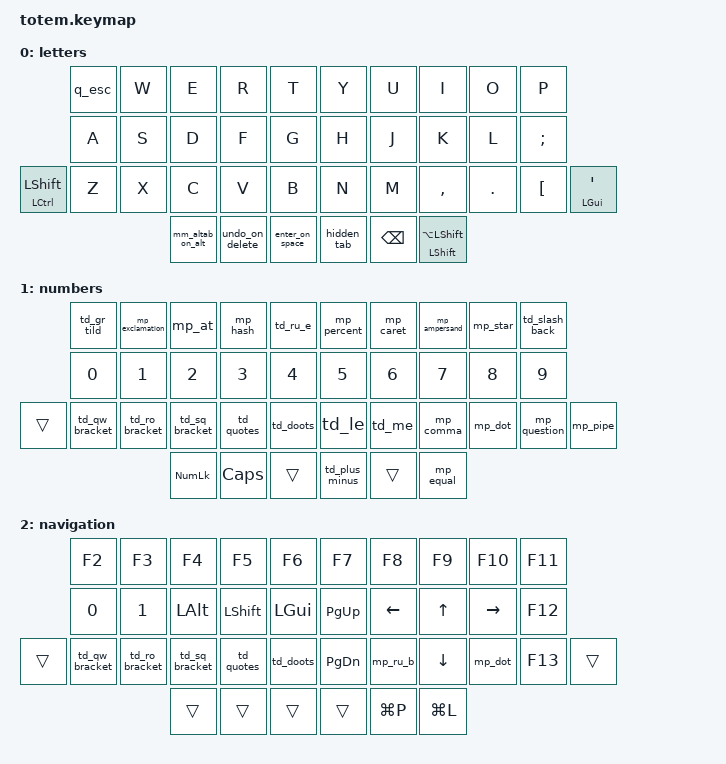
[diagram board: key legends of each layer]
//
//                                                        ▀▀▀▀▀     ▀▀▀▀▀          ▀▀█▀▀
//                                                        ▄▀▀▀▄  ▄  ▄▀▀▀▄  ▄  ▄▀▀▀▄  █  ▄▀▀▀▄
//                                                        █   █  █  █   █  █  █   █  █  █   █
//                                                         ▀▀▀   █   ▀▀▀   █   ▀▀▀   ▀   ▀▀▀
//                                                               █      ▄▄▄█▄▄▄    █   █  
//                                                               ▀      █  █  █     █▄█
//                                                             ▀▀▀▀▀    █  █  █      ▀
//                                                                      ▀  ▀  ▀
//
// ▄▄▄▄▄▄▄▄▄▄▄▄▄▄▄▄▄▄▄▄▄▄▄▄▄▄▄▄▄▄▄▄▄▄▄▄▄▄▄▄▄▄▄▄▄▄▄▄▄▄▄▄▄▄▄▄▄▄▄▄▄▄▄▄▄▄▄▄▄▄▄▄▄▄▄▄▄▄▄▄▄▄▄▄▄▄▄▄▄▄▄▄▄▄▄▄▄▄▄▄▄▄▄▄▄▄▄▄▄▄▄▄▄▄▄▄▄▄▄▄▄▄▄▄▄▄▄▄▄▄▄▄▄▄▄▄▄▄▄▄▄▄▄▄▄▄▄▄▄

#define BASE 0
#define MATH 1
#define SYMB 2
#define ADJU  3

#include <behaviors.dtsi>
#include <dt-bindings/zmk/bt.h>
#include <dt-bindings/zmk/keys.h>

&sk {
    quick-release;
    release-after-ms = <1500>;
};

&lt { flavor = "balanced"; };

/ {
    combos {
        compatible = "zmk,combos";

        print_screen {
            bindings = <&kp LS(LG(S))>;
            key-positions = <32 33 34>;
            layers = <0>;
        };

        ctrl_alt_delete {
            bindings = <&kp LC(LA(DELETE))>;
            key-positions = <35 36 37>;
        };

        bt_0 {
            bindings = <&bt BT_SEL 0>;
            key-positions = <0 10 21>;
        };

        bt_1 {
            bindings = <&bt BT_SEL 1>;
            key-positions = <22 11 1>;
        };

        mobile {
            bindings = <&bt BT_SEL 2>;
            key-positions = <2 12 23>;
        };
    };

    behaviors {
        td_sq_bracket: td_sq_bracket {
            compatible = "zmk,behavior-tap-dance";
            label = "TD_SQ_BRACKET";
            #binding-cells = <0>;
            tapping-term-ms = <250>;
            bindings = <&mp_l_sq_br>, <&mp_r_sq_br>;
        };

        td_ro_bracket: td_ro_bracket {
            compatible = "zmk,behavior-tap-dance";
            label = "TD_RO_BRACKET";
            #binding-cells = <0>;
            tapping-term-ms = <250>;
            bindings = <&kp LPAR>, <&kp RIGHT_PARENTHESIS>;
        };

        td_qw_bracket: td_qw_bracket {
            compatible = "zmk,behavior-tap-dance";
            label = "TD_QW_BRACKET";
            #binding-cells = <0>;
            tapping-term-ms = <250>;
            bindings = <&mp_l_fg_br>, <&mp_r_fg_br>;
        };

        enter_on_space: enter_on_space {
            compatible = "zmk,behavior-mod-morph";
            label = "ENTER_ON_SPACE";
            bindings = <&lt 1 SPACE>, <&kp ENTER>;

            #binding-cells = <0>;
            mods = <(MOD_LCTL|MOD_LSFT|MOD_RSFT|MOD_RCTL|MOD_LALT)>;
            keep-mods = <(MOD_LSFT|MOD_RSFT|MOD_LALT)>;
        };

        undo_on_delete: undo_on_delete {
            compatible = "zmk,behavior-mod-morph";
            label = "UNDO_ON_DELETE";
            bindings = <&kp DELETE>, <&kp LC(Z)>;

            #binding-cells = <0>;
            mods = <(MOD_LCTL|MOD_RCTL)>;
        };

        hidden_tab: hidden_tab {
            compatible = "zmk,behavior-mod-morph";
            label = "HIDDEN_TAB";
            bindings = <&lt 2 UNDERSCORE>, <&kp TAB>;

            #binding-cells = <0>;
            mods = <(MOD_LCTL|MOD_LSFT|MOD_RSFT|MOD_RCTL|MOD_LALT|MOD_RALT)>;
            keep-mods = <(MOD_LALT|MOD_RALT|MOD_LSFT|MOD_RSFT)>;
        };

        q_esc: q_esc {
            compatible = "zmk,behavior-mod-morph";
            label = "Q_ESC";
            bindings = <&kp Q>, <&kp ESC>;

            #binding-cells = <0>;
            mods = <(MOD_LCTL|MOD_RCTL)>;
        };

        mods_on_left_0: mods_on_left_0 {
            compatible = "zmk,behavior-hold-tap";
            label = "MODS_ON_LEFT_0";
            bindings = <&kp>, <&sk>;

            #binding-cells = <2>;
            tapping-term-ms = <200>;
            quick-tap-ms = <150>;
            flavor = "hold-preferred";
        };

        mm_altab_on_alt: mm_altab_on_alt {
            compatible = "zmk,behavior-mod-morph";
            label = "MM_ALTAB_ON_ALT";
            bindings = <&kp LEFT_ALT>, <&kp LA(TAB)>;

            #binding-cells = <0>;
            mods = <(MOD_LCTL)>;
        };

        td_doots: td_doots {
            compatible = "zmk,behavior-tap-dance";
            label = "TD_DOOTS";
            #binding-cells = <0>;
            tapping-term-ms = <250>;
            bindings = <&mp_dot_dot>, <&mp_dot_comma>;
        };

        td_quotes: td_quotes {
            compatible = "zmk,behavior-tap-dance";
            label = "TD_QUOTES";
            #binding-cells = <0>;
            tapping-term-ms = <250>;
            bindings = <&mp_s_quote>, <&mp_d_quote>;
        };

        td_gr_tild: td_gr_tild {
            compatible = "zmk,behavior-tap-dance";
            label = "TD_GR_TILD";
            #binding-cells = <0>;
            tapping-term-ms = <250>;
            bindings = <&mp_grave>, <&mp_tilda>;
        };

        td_plus_minus: td_plus_minus {
            compatible = "zmk,behavior-tap-dance";
            label = "TD_PLUS_MINUS";
            #binding-cells = <0>;
            tapping-term-ms = <250>;
            bindings = <&mp_minus>, <&mp_plus>;
        };

        td_slash_back: td_slash_back {
            compatible = "zmk,behavior-tap-dance";
            label = "TD_SLASH_BACK";
            #binding-cells = <0>;
            tapping-term-ms = <250>;
            bindings = <&mp_slash>, <&mp_backslash>;
        };

        td_le: td_le {
            compatible = "zmk,behavior-tap-dance";
            label = "TD_LE";
            #binding-cells = <0>;
            tapping-term-ms = <250>;
            bindings = <&mp_less_than>, <&mp_less_eq>;
        };

        td_me: td_me {
            compatible = "zmk,behavior-tap-dance";
            label = "TD_ME";
            #binding-cells = <0>;
            tapping-term-ms = <250>;
            bindings = <&mp_more_than>, <&mp_more_eq>;
        };

        td_ru_e: td_ru_e {
            compatible = "zmk,behavior-tap-dance";
            label = "TD_RU_E";
            #binding-cells = <0>;
            tapping-term-ms = <250>;
            bindings = <&mp_dollar>, <&mp_ru_e>;
        };

        td_left_mod: td_left_mod {
            compatible = "zmk,behavior-tap-dance";
            label = "TD_LEFT_MOD";
            #binding-cells = <0>;
            bindings =
                <&mods_on_left_0 LCTRL LEFT_SHIFT>,
                <&ht_shift_caps LEFT_SHIFT 0>;
        };

        ht_shift_caps: ht_shift_caps {
            compatible = "zmk,behavior-hold-tap";
            label = "HT_SHIFT_CAPS";
            bindings = <&kp>, <&caps_word>;

            #binding-cells = <2>;
            tapping-term-ms = <200>;
            quick-tap-ms = <100>;
            flavor = "tap-preferred";
            hold-while-undecided;
        };
    };

    macros {
        mp_next_str_in_list: next_str_in_list {
            compatible = "zmk,behavior-macro";
            #binding-cells = <0>;
            bindings = <&kp SQT &kp COMMA &kp SPACE &kp SQT>;
            label = "NEXT_STR_IN_LIST";
        };

        mp_next_dict_value: dict_value {
            compatible = "zmk,behavior-macro";
            #binding-cells = <0>;
            bindings = <&kp SQT &kp COLON &kp SPACE>;
            label = "DICT_VALUE";
        };

        mp_select_current_word: mp_select_current_word {
            compatible = "zmk,behavior-macro";
            #binding-cells = <0>;
            bindings = <&kp LC(LEFT) &kp LC(LS(RIGHT))>;
            label = "MP_SELECT_CURRENT_WORD";
        };

        mp_less_than: less_than {
            compatible = "zmk,behavior-macro";
            #binding-cells = <0>;
            bindings =
                <&macro_press>,
                <&kp LEFT_ALT>,
                <&macro_tap>,
                <&kp KP_NUMBER_6 &kp KP_NUMBER_0>,
                <&macro_release>,
                <&kp LEFT_ALT>;

            label = "LESS_THAN";
        };

        mp_more_than: more_than {
            compatible = "zmk,behavior-macro";
            #binding-cells = <0>;
            bindings =
                <&macro_press>,
                <&kp LEFT_ALT>,
                <&macro_tap>,
                <&kp KP_NUMBER_6 &kp KP_NUMBER_2>,
                <&macro_release>,
                <&kp LEFT_ALT>;

            label = "MORE_THAN";
        };

        mp_at: mp_at {
            compatible = "zmk,behavior-macro";
            #binding-cells = <0>;
            bindings =
                <&macro_press>,
                <&kp LEFT_ALT>,
                <&macro_tap>,
                <&kp KP_NUMBER_6 &kp KP_NUMBER_4>,
                <&macro_release>,
                <&kp LEFT_ALT>;

            label = "MP_AT";
        };

        mp_hash: mp_hash {
            compatible = "zmk,behavior-macro";
            #binding-cells = <0>;
            bindings =
                <&macro_press>,
                <&kp LEFT_ALT>,
                <&macro_tap>,
                <&kp KP_N3 &kp KP_NUMBER_5>,
                <&macro_release>,
                <&kp LEFT_ALT>;

            label = "MP_HASH";
        };

        mp_dollar: mp_dollar {
            compatible = "zmk,behavior-macro";
            #binding-cells = <0>;
            bindings =
                <&macro_press>,
                <&kp LEFT_ALT>,
                <&macro_tap>,
                <&kp KP_N3 &kp KP_NUMBER_6>,
                <&macro_release>,
                <&kp LEFT_ALT>;

            label = "MP_DOLLAR";
        };

        mp_caret: mp_caret {
            compatible = "zmk,behavior-macro";
            #binding-cells = <0>;
            bindings =
                <&macro_press>,
                <&kp LEFT_ALT>,
                <&macro_tap>,
                <&kp KP_NUMBER_9 &kp KP_NUMBER_4>,
                <&macro_release>,
                <&kp LEFT_ALT>;

            label = "MP_CARET";
        };

        mp_ampersand: mp_ampersand {
            compatible = "zmk,behavior-macro";
            #binding-cells = <0>;
            bindings =
                <&macro_press>,
                <&kp LEFT_ALT>,
                <&macro_tap>,
                <&kp KP_N3 &kp KP_NUMBER_8>,
                <&macro_release>,
                <&kp LEFT_ALT>;

            label = "MP_AMPERSAND";
        };

        mp_s_quote: mp_s_quote {
            compatible = "zmk,behavior-macro";
            #binding-cells = <0>;
            bindings =
                <&macro_press>,
                <&kp LEFT_ALT>,
                <&macro_tap>,
                <&kp KP_NUMBER_3 &kp KP_NUMBER_9>,
                <&macro_release>,
                <&kp LEFT_ALT>;

            label = "MP_S_QUOTE";
        };

        mp_d_quote: mp_d_quote {
            compatible = "zmk,behavior-macro";
            #binding-cells = <0>;
            bindings =
                <&macro_press>,
                <&kp LEFT_ALT>,
                <&macro_tap>,
                <&kp KP_NUMBER_3 &kp KP_NUMBER_4>,
                <&macro_release>,
                <&kp LEFT_ALT>;

            label = "MP_D_QUOTE";
        };

        mp_dot_dot: mp_dot_dot {
            compatible = "zmk,behavior-macro";
            #binding-cells = <0>;
            bindings =
                <&macro_press>,
                <&kp LEFT_ALT>,
                <&macro_tap>,
                <&kp KP_NUMBER_5 &kp KP_NUMBER_8>,
                <&macro_release>,
                <&kp LEFT_ALT>;

            label = "MP_DOT_DOT";
        };

        mp_dot_comma: mp_dot_comma {
            compatible = "zmk,behavior-macro";
            #binding-cells = <0>;
            bindings =
                <&macro_press>,
                <&kp LEFT_ALT>,
                <&macro_tap>,
                <&kp KP_NUMBER_5 &kp KP_NUMBER_9>,
                <&macro_release>,
                <&kp LEFT_ALT>;

            label = "MP_DOT_COMMA";
        };

        mp_grave: mp_grave {
            compatible = "zmk,behavior-macro";
            #binding-cells = <0>;
            bindings =
                <&macro_press>,
                <&kp LEFT_ALT>,
                <&macro_tap>,
                <&kp KP_NUMBER_9 &kp KP_NUMBER_6>,
                <&macro_release>,
                <&kp LEFT_ALT>;

            label = "MP_GRAVE";
        };

        mp_comma: mp_comma {
            compatible = "zmk,behavior-macro";
            #binding-cells = <0>;
            bindings =
                <&macro_press>,
                <&kp LEFT_ALT>,
                <&macro_tap>,
                <&kp KP_NUMBER_4 &kp KP_NUMBER_4>,
                <&macro_release>,
                <&kp LEFT_ALT>;

            label = "MP_COMMA";
        };

        mp_dot: mp_dot {
            compatible = "zmk,behavior-macro";
            #binding-cells = <0>;
            bindings =
                <&macro_press>,
                <&kp LEFT_ALT>,
                <&macro_tap>,
                <&kp KP_NUMBER_4 &kp KP_NUMBER_6>,
                <&macro_release>,
                <&kp LEFT_ALT>;

            label = "MP_DOT";
        };

        mp_question: mp_question {
            compatible = "zmk,behavior-macro";
            #binding-cells = <0>;
            bindings =
                <&macro_press>,
                <&kp LEFT_ALT>,
                <&macro_tap>,
                <&kp KP_NUMBER_6 &kp KP_NUMBER_3>,
                <&macro_release>,
                <&kp LEFT_ALT>;

            label = "MP_QUESTION";
        };

        mp_exclamation: mp_exclamation {
            compatible = "zmk,behavior-macro";
            #binding-cells = <0>;
            bindings =
                <&macro_press>,
                <&kp LEFT_ALT>,
                <&macro_tap>,
                <&kp KP_NUMBER_3 &kp KP_NUMBER_3>,
                <&macro_release>,
                <&kp LEFT_ALT>;

            label = "MP_EXCLAMATION";
        };

        mp_backslash: mp_backslash {
            compatible = "zmk,behavior-macro";
            #binding-cells = <0>;
            bindings =
                <&macro_press>,
                <&kp LEFT_ALT>,
                <&macro_tap>,
                <&kp KP_NUMBER_9 &kp KP_NUMBER_2>,
                <&macro_release>,
                <&kp LEFT_ALT>;

            label = "MP_BACKSLASH";
        };

        mp_minus: mp_minus {
            compatible = "zmk,behavior-macro";
            #binding-cells = <0>;
            bindings =
                <&macro_press>,
                <&kp LEFT_ALT>,
                <&macro_tap>,
                <&kp KP_NUMBER_4 &kp KP_NUMBER_5>,
                <&macro_release>,
                <&kp LEFT_ALT>;

            label = "MP_MINUS";
        };

        mp_equal: mp_equal {
            compatible = "zmk,behavior-macro";
            #binding-cells = <0>;
            bindings =
                <&macro_press>,
                <&kp LEFT_ALT>,
                <&macro_tap>,
                <&kp KP_NUMBER_6 &kp KP_NUMBER_1>,
                <&macro_release>,
                <&kp LEFT_ALT>;

            label = "MP_EQUAL";
        };

        mp_star: mp_star {
            compatible = "zmk,behavior-macro";
            #binding-cells = <0>;
            bindings =
                <&macro_press>,
                <&kp LEFT_ALT>,
                <&macro_tap>,
                <&kp KP_NUMBER_4 &kp KP_NUMBER_2>,
                <&macro_release>,
                <&kp LEFT_ALT>;

            label = "MP_STAR";
        };

        mp_plus: mp_plus {
            compatible = "zmk,behavior-macro";
            #binding-cells = <0>;
            bindings =
                <&macro_press>,
                <&kp LEFT_ALT>,
                <&macro_tap>,
                <&kp KP_NUMBER_4 &kp KP_NUMBER_3>,
                <&macro_release>,
                <&kp LEFT_ALT>;

            label = "MP_PLUS";
        };

        mp_slash: mp_slash {
            compatible = "zmk,behavior-macro";
            #binding-cells = <0>;
            bindings =
                <&macro_press>,
                <&kp LEFT_ALT>,
                <&macro_tap>,
                <&kp KP_NUMBER_4 &kp KP_NUMBER_7>,
                <&macro_release>,
                <&kp LEFT_ALT>;

            label = "MP_SLASH";
        };

        mp_percent: mp_percent {
            compatible = "zmk,behavior-macro";
            #binding-cells = <0>;
            bindings =
                <&macro_press>,
                <&kp LEFT_ALT>,
                <&macro_tap>,
                <&kp KP_NUMBER_3 &kp KP_NUMBER_7>,
                <&macro_release>,
                <&kp LEFT_ALT>;

            label = "MP_PERCENT";
        };

        mp_l_ro_br: mp_l_ro_br {
            compatible = "zmk,behavior-macro";
            #binding-cells = <0>;
            bindings =
                <&macro_press>,
                <&kp LEFT_ALT>,
                <&macro_tap>,
                <&kp KP_NUMBER_4 &kp KP_NUMBER_0>,
                <&macro_release>,
                <&kp LEFT_ALT>;

            label = "MP_L_RO_BR";
        };

        mp_r_ro_br: mp_r_ro_br {
            compatible = "zmk,behavior-macro";
            #binding-cells = <0>;
            bindings =
                <&macro_press>,
                <&kp LEFT_ALT>,
                <&macro_tap>,
                <&kp KP_NUMBER_4 &kp KP_NUMBER_1>,
                <&macro_release>,
                <&kp LEFT_ALT>;

            label = "MP_R_RO_BR";
        };

        mp_l_sq_br: mp_l_sq_br {
            compatible = "zmk,behavior-macro";
            #binding-cells = <0>;
            bindings =
                <&macro_press>,
                <&kp LEFT_ALT>,
                <&macro_tap>,
                <&kp KP_NUMBER_9 &kp KP_NUMBER_1>,
                <&macro_release>,
                <&kp LEFT_ALT>;

            label = "MP_L_SQ_BR";
        };

        mp_r_sq_br: mp_r_sq_br {
            compatible = "zmk,behavior-macro";
            #binding-cells = <0>;
            bindings =
                <&macro_press>,
                <&kp LEFT_ALT>,
                <&macro_tap>,
                <&kp KP_NUMBER_9 &kp KP_NUMBER_3>,
                <&macro_release>,
                <&kp LEFT_ALT>;

            label = "MP_R_SQ_BR";
        };

        mp_l_fg_br: mp_l_fg_br {
            compatible = "zmk,behavior-macro";
            #binding-cells = <0>;
            bindings =
                <&macro_press>,
                <&kp LEFT_ALT>,
                <&macro_tap>,
                <&kp KP_NUMBER_1 &kp KP_NUMBER_2 &kp KP_NUMBER_3>,
                <&macro_release>,
                <&kp LEFT_ALT>;

            label = "MP_L_FG_BR";
        };

        mp_r_fg_br: mp_r_fg_br {
            compatible = "zmk,behavior-macro";
            #binding-cells = <0>;
            bindings =
                <&macro_press>,
                <&kp LEFT_ALT>,
                <&macro_tap>,
                <&kp KP_NUMBER_1 &kp KP_NUMBER_2 &kp KP_NUMBER_5>,
                <&macro_release>,
                <&kp LEFT_ALT>;

            label = "MP_R_FG_BR";
        };

        mp_pipe: mp_pipe {
            compatible = "zmk,behavior-macro";
            #binding-cells = <0>;
            bindings =
                <&macro_press>,
                <&kp LEFT_ALT>,
                <&macro_tap>,
                <&kp KP_NUMBER_1 &kp KP_NUMBER_2 &kp KP_NUMBER_4>,
                <&macro_release>,
                <&kp LEFT_ALT>;

            label = "MP_PIPE";
        };

        mp_ru_e: mp_ru_e {
            compatible = "zmk,behavior-macro";
            #binding-cells = <0>;
            bindings =
                <&macro_press>,
                <&kp LEFT_ALT>,
                <&macro_tap>,
                <&kp KP_NUMBER_2 &kp KP_NUMBER_4 &kp KP_NUMBER_1>,
                <&macro_release>,
                <&kp LEFT_ALT>;

            label = "MP_RU_E";
        };

        mp_less_eq: mp_less_eq {
            compatible = "zmk,behavior-macro";
            #binding-cells = <0>;
            bindings = <&mp_less_than &mp_equal>;
            label = "MP_LESS_EQ";
        };

        mp_more_eq: mp_more_eq {
            compatible = "zmk,behavior-macro";
            #binding-cells = <0>;
            bindings = <&mp_more_than &mp_equal>;
            label = "MP_MORE_EQ";
        };

        mp_tilda: mp_tilda {
            compatible = "zmk,behavior-macro";
            #binding-cells = <0>;
            bindings =
                <&macro_press>,
                <&kp LEFT_ALT>,
                <&macro_tap>,
                <&kp KP_NUMBER_1 &kp KP_NUMBER_2 &kp KP_NUMBER_6>,
                <&macro_release>,
                <&kp LEFT_ALT>;

            label = "MP_TILDA";
        };

        mp_ru_b: mp_ru_b {
            compatible = "zmk,behavior-macro";
            #binding-cells = <0>;
            bindings =
                <&macro_press>,
                <&kp LEFT_ALT>,
                <&macro_tap>,
                <&kp KP_NUMBER_0 &kp KP_NUMBER_2 &kp KP_NUMBER_5 &kp KP_NUMBER_0>,
                <&macro_release>,
                <&kp LEFT_ALT>;

            label = "MP_RU_B";
        };
    };

    keymap {
        compatible = "zmk,keymap";

        letters {
            bindings = <
                                  &q_esc  &kp W  &kp E             &kp R            &kp T              &kp Y        &kp U          &kp I                          &kp O    &kp P
                                  &kp A   &kp S  &kp D             &kp F            &kp G              &kp H        &kp J          &kp K                          &kp L    &kp SEMICOLON
&mods_on_left_0 LCTRL LEFT_SHIFT  &kp Z   &kp X  &kp C             &kp V            &kp B              &kp N        &kp M          &kp COMMA                      &kp DOT  &kp LEFT_BRACKET  &mt LEFT_GUI SQT
                                                 &mm_altab_on_alt  &undo_on_delete  &enter_on_space    &hidden_tab  &kp BACKSPACE  &mt LEFT_SHIFT LA(LEFT_SHIFT)
            >;
        };

        numbers {
            bindings = <
        &td_gr_tild     &mp_exclamation  &mp_at          &mp_hash      &td_ru_e     &mp_percent     &mp_caret  &mp_ampersand  &mp_star  &td_slash_back
        &kp N0          &kp N1           &kp N2          &kp N3        &kp N4       &kp N5          &kp N6     &kp N7         &kp N8    &kp N9
&trans  &td_qw_bracket  &td_ro_bracket   &td_sq_bracket  &td_quotes    &td_doots    &td_le          &td_me     &mp_comma      &mp_dot   &mp_question    &mp_pipe
                                         &kp KP_NUM      &kp CAPSLOCK  &trans       &td_plus_minus  &trans     &mp_equal
            >;
        };

        navigation {
            bindings = <
        &kp F2          &kp F3          &kp F4          &kp F5          &kp F6          &kp F7         &kp F8     &kp F9     &kp F10    &kp F11
        &kp N0          &kp N1          &kp LEFT_ALT    &kp LEFT_SHIFT  &kp LEFT_GUI    &kp PG_UP      &kp LEFT   &kp UP     &kp RIGHT  &kp F12
&trans  &td_qw_bracket  &td_ro_bracket  &td_sq_bracket  &td_quotes      &td_doots       &kp PAGE_DOWN  &mp_ru_b   &kp DOWN   &mp_dot    &kp F13  &trans
                                        &trans          &trans          &trans          &trans         &kp LG(P)  &kp LG(L)
            >;
        };
    };

    conditional_layers { compatible = "zmk,conditional-layers"; };
};
